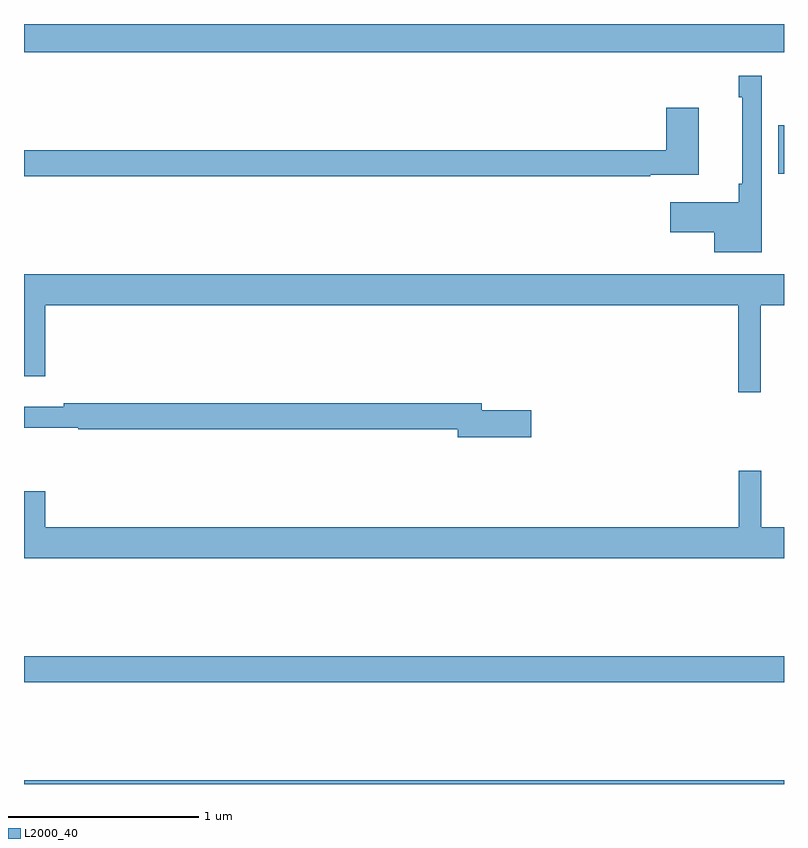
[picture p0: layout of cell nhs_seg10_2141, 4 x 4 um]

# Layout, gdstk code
import gdstk
lib = gdstk.Library(unit=1e-6, precision=1e-09)
def R(c, l, rs):  # rectangles x0, y0, x1, y1
    for r in rs: c.add(gdstk.rectangle(r[:2], r[2:], *l))
def P(c, l, *ps):  # polygons
    for p in ps: c.add(gdstk.Polygon(p, *l))
L2000_40 = (2000, 40)

nhs_seg10_2141 = lib.new_cell('nhs_seg10_2141')
R(nhs_seg10_2141, L2000_40, [(225,1260.5,229,1260.52), (225,1261.036,229,1261.172), (228.971,1263.713,229,1263.967), (225,1264.352,229,1264.5)])
P(nhs_seg10_2141, L2000_40, [(228.883,1264.228),(228.762,1264.228),(228.762,1264.115),(228.779,1264.115),(228.779,1263.658),(228.762,1263.658),(228.762,1263.562),(228.402,1263.562),(228.402,1263.404),(228.632,1263.404),(228.632,1263.299),(228.883,1263.299)],
  [(228.296,1263.707),(228.55,1263.707),(228.55,1264.06),(228.38,1264.06),(228.38,1263.836),(225,1263.836),(225,1263.7),(228.296,1263.7)],
  [(228.877,1263.02),(229,1263.02),(229,1263.184),(225,1263.184),(225,1262.646),(225.112,1262.646),(225.112,1263.02),(228.76,1263.02),(228.76,1262.562),(228.877,1262.562)],
  [(227.671,1262.468),(227.41,1262.468),(227.41,1262.504),(225.208,1262.504),(225.208,1262.485),(225,1262.485),(225,1262.376),(225.286,1262.376),(225.286,1262.368),(227.282,1262.368),(227.282,1262.326),(227.671,1262.326)],
  [(229,1261.852),(228.88,1261.852),(228.88,1262.149),(228.763,1262.149),(228.763,1261.852),(225.112,1261.852),(225.112,1262.041),(225,1262.041),(225,1261.688),(229,1261.688)])

lib.write_gds('nhs_seg10_2141.gds')
